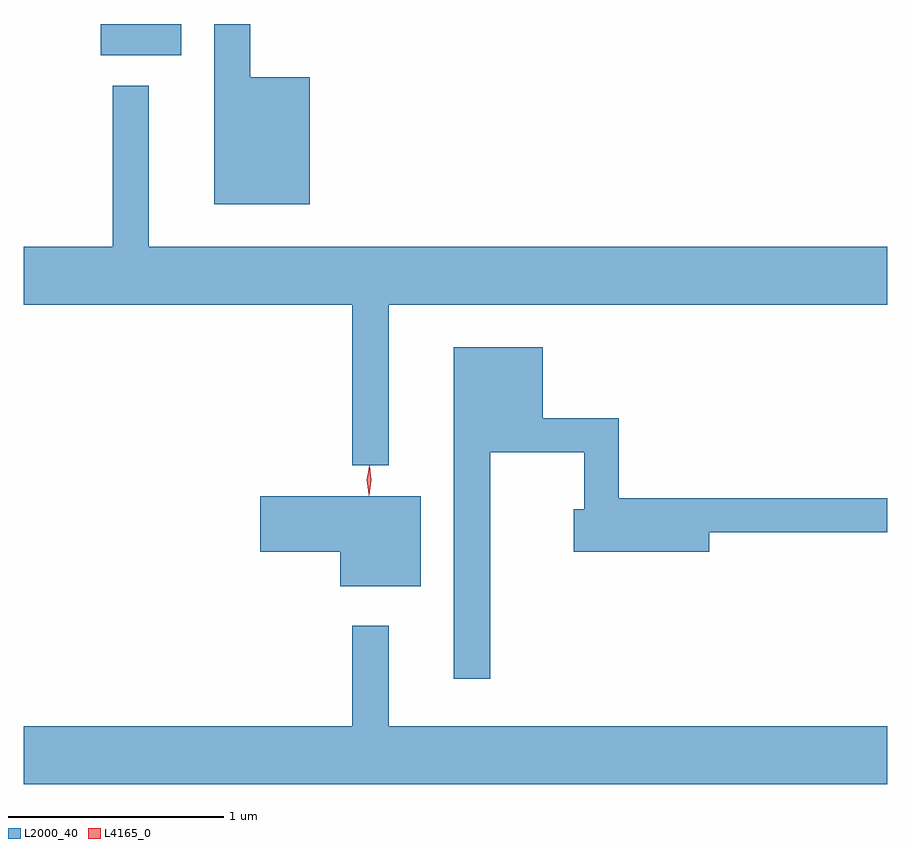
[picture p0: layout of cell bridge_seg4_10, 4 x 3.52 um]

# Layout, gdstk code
import gdstk
lib = gdstk.Library(unit=1e-6, precision=1e-09)
def R(c, l, rs):  # rectangles x0, y0, x1, y1
    for r in rs: c.add(gdstk.rectangle(r[:2], r[2:], *l))
def P(c, l, *ps):  # polygons
    for p in ps: c.add(gdstk.Polygon(p, *l))
L2000_40 = (2000, 40)
L4165_0 = (4165, 0)

bridge_seg4_10 = lib.new_cell('bridge_seg4_10')
R(bridge_seg4_10, L2000_40, [(1149.546,1391.351,1149.919,1391.495)])
P(bridge_seg4_10, L2000_40, [(1150.514,1391.249),(1150.239,1391.249),(1150.239,1391.495),(1150.071,1391.495),(1150.071,1390.661),(1150.514,1390.661)],
  [(1150.879,1390.196),(1153.189,1390.196),(1153.189,1390.464),(1149.769,1390.464),(1149.769,1391.208),(1149.601,1391.208),(1149.601,1390.464),(1149.189,1390.464),(1149.189,1390.196),(1150.711,1390.196),(1150.711,1389.453),(1150.879,1389.453)],
  [(1151.349,1389.511),(1151.786,1389.511),(1151.786,1389.249),(1151.736,1389.249),(1151.736,1389.051),(1152.364,1389.051),(1152.364,1389.141),(1153.189,1389.141),(1153.189,1389.299),(1151.944,1389.299),(1151.944,1389.669),(1151.594,1389.669),(1151.594,1389.999),(1151.181,1389.999),(1151.181,1388.463),(1151.349,1388.463)],
  [(1151.029,1389.309),(1150.286,1389.309),(1150.286,1389.051),(1150.656,1389.051),(1150.656,1388.891),(1151.029,1388.891)],
  [(1153.189,1388.244),(1150.879,1388.244),(1150.879,1388.708),(1150.711,1388.708),(1150.711,1388.244),(1149.189,1388.244),(1149.189,1387.976),(1153.189,1387.976)])
P(bridge_seg4_10, L4165_0, [(1150.788,1389.314),(1150.78,1389.382),(1150.79,1389.45),(1150.79,1389.45),(1150.791,1389.45),(1150.8,1389.382),(1150.79,1389.314),(1150.789,1389.314)],
  [(1150.788,1389.32),(1150.788,1389.321),(1150.779,1389.384),(1150.79,1389.446),(1150.79,1389.447),(1150.791,1389.446),(1150.799,1389.384),(1150.788,1389.321)])

lib.write_gds('bridge_seg4_10.gds')
